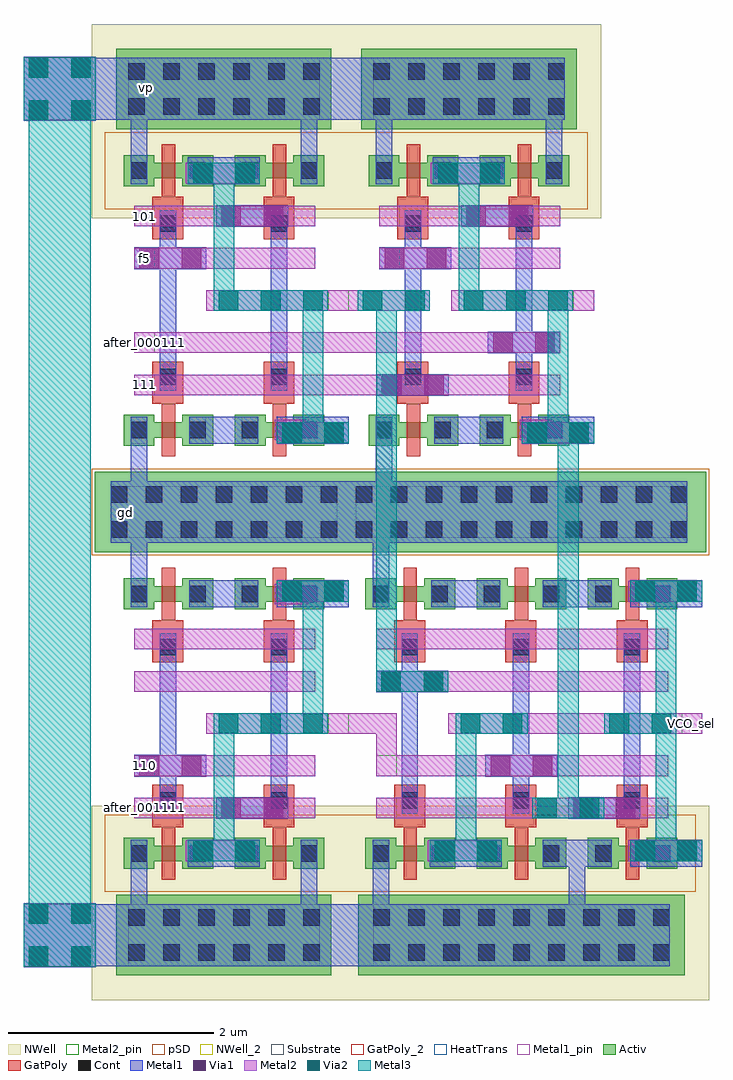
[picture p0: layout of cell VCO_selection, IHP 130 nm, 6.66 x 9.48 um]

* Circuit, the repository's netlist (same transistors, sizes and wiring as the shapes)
** sch_path: /foss/designs/CHIP-PLL/schematics/divider/schematics/test/VCO_selection.sch
.subckt VCO_selection gd VP after_000111 111 after_001111 110 101 f5 VCO_sel
*.PININFO gd:B VP:B after_000111:I 111:I after_001111:I 110:I 101:I f5:I VCO_sel:O
x11 VP gd after_000111 net1 111 NAND_2in
x12 VP gd after_001111 net2 110 NAND_2in
x13 VP gd 101 net3 f5 NAND_2in
x14 VP gd net1 VCO_sel net2 net3 NAND_3in
.ends

* expanding   symbol:  NAND_2in.sym # of pins=5
** sym_path: /foss/designs/CHIP-PLL/schematics/divider/schematics/NAND_2in.sym
** sch_path: /foss/designs/CHIP-PLL/schematics/divider/schematics/NAND_2in.sch
.subckt NAND_2in VP GND a y b
*.PININFO y:O GND:B a:I VP:B b:I
MM1 y a net1 GND sg13_lv_nmos w=0.15u l=0.13u ng=1
MM3 net1 b GND GND sg13_lv_nmos w=0.15u l=0.13u ng=1
MM2 y b VP VP sg13_lv_pmos w=0.15u l=0.13u ng=1
MM4 y a VP VP sg13_lv_pmos w=0.15u l=0.13u ng=1
.ends


* expanding   symbol:  NAND_3in.sym # of pins=6
** sym_path: /foss/designs/CHIP-PLL/schematics/divider/schematics/NAND_3in.sym
** sch_path: /foss/designs/CHIP-PLL/schematics/divider/schematics/NAND_3in.sch
.subckt NAND_3in VP GND a y b c
*.PININFO y:O GND:B a:I VP:B b:I c:I
MM1 y a net2 GND sg13_lv_nmos w=0.15u l=0.13u ng=1
MM3 net2 b net1 GND sg13_lv_nmos w=0.15u l=0.13u ng=1
MM4 net1 c GND GND sg13_lv_nmos w=0.15u l=0.13u ng=1
MM7 y c VP VP sg13_lv_pmos w=0.15u l=0.13u ng=1
MM2 y a VP VP sg13_lv_pmos w=0.15u l=0.13u ng=1
MM5 y b VP VP sg13_lv_pmos w=0.15u l=0.13u ng=1
.ends

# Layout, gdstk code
from math import pi, radians
import gdstk
lib = gdstk.Library(unit=1e-6, precision=1e-09)
def R(c, l, rs):  # rectangles x0, y0, x1, y1
    for r in rs: c.add(gdstk.rectangle(r[:2], r[2:], *l))
def A(c, l, x, y, w, h, nx, ny, dx, dy):  # array of equal rectangles
    R(c, l, [(x+i*dx, y+j*dy, x+i*dx+w, y+j*dy+h) for i in range(nx) for j in range(ny)])
Activ = (1, 0)
GatPoly = (5, 0)
GatPoly_2 = (5, 2)
Cont = (6, 0)
Metal1 = (8, 0)
Metal1_pin = (8, 2)
Metal2 = (10, 0)
Metal2_pin = (10, 2)
pSD = (14, 0)
Via1 = (19, 0)
Via2 = (29, 0)
Metal3 = (30, 0)
NWell = (31, 0)
NWell_2 = (31, 2)
Substrate = (40, 0)
HeatTrans = (51, 0)

via_4_2 = lib.new_cell('Via$4$2')
R(via_4_2, Metal2, [(-0.1,-0.35,0.1,0.35)])
R(via_4_2, Via2, [(-0.095,-0.3,0.095,-0.11), (-0.095,0.11,0.095,0.3)])
R(via_4_2, Metal3, [(-0.1,-0.35,0.1,0.35)])

via_2_2 = lib.new_cell('Via$2$2')
R(via_2_2, Metal1, [(-0.105,-0.35,0.105,0.35)])
R(via_2_2, Metal2, [(-0.1,-0.35,0.1,0.35)])
R(via_2_2, Via1, [(-0.095,-0.3,0.095,-0.11), (-0.095,0.11,0.095,0.3)])

ntap1_2 = lib.new_cell('ntap1$2')
R(ntap1_2, Activ, [(0,0,2.09,0.78)])
A(ntap1_2, Cont, 0.115, 0.14, 0.16, 0.16, 6, 2, 0.34, 0.34)
R(ntap1_2, Metal1, [(0.115,0.09,1.975,0.69)])
R(ntap1_2, Metal1_pin, [(0.115,0.09,1.975,0.69), (0.115,0.14,1.975,0.64)])
R(ntap1_2, NWell, [(-0.24,-0.24,2.33,1.02), (0,0,2.09,0.78)])
R(ntap1_2, NWell_2, [(0,0,2.09,0.78)])
ntap1_2.add(gdstk.Label('well', (1.045,0.01), layer=63, texttype=0))
ntap1_2.add(gdstk.Label('well', (1.045,0.01), layer=31, texttype=0))

ptap1_2 = lib.new_cell('ptap1$2')
R(ptap1_2, Activ, [(0,0,2.51,0.78)])
A(ptap1_2, Cont, 0.155, 0.14, 0.16, 0.16, 7, 2, 0.34, 0.34)
R(ptap1_2, Metal1, [(0.155,0.09,2.355,0.69), (0.155,0.14,2.355,0.64)])
R(ptap1_2, Metal1_pin, [(0.155,0.14,2.355,0.64)])
R(ptap1_2, pSD, [(-0.03,-0.03,2.54,0.81)])
R(ptap1_2, Substrate, [(0,0,2.51,0.78)])
ptap1_2.add(gdstk.Label('sub!', (1.255,0.01), layer=63, texttype=0))
ptap1_2.add(gdstk.Label('sub!', (1.255,0.01), layer=40, texttype=0))

nmos_2 = lib.new_cell('nmos$2')
R(nmos_2, Activ, [(0,0,0.3,0.3), (0.57,0,0.87,0.3), (0,0.075,0.87,0.225)])
R(nmos_2, GatPoly, [(0.37,-0.105,0.5,0.405)])
R(nmos_2, GatPoly_2, [(0.37,-0.105,0.5,0.405)])
R(nmos_2, Cont, [(0.07,0.07,0.23,0.23), (0.64,0.07,0.8,0.23)])
R(nmos_2, Metal1, [(0.07,0.02,0.23,0.28), (0.64,0.02,0.8,0.28)])
R(nmos_2, Metal1_pin, [(0.07,0.02,0.23,0.28), (0.64,0.02,0.8,0.28)])
R(nmos_2, HeatTrans, [(0.37,-0.105,0.5,0.405)])
nmos_2.add(gdstk.Label('nmos', (0.435,0.15), layer=63, texttype=0))
nmos_2.add(gdstk.Label('nmos', (0.435,0.15), layer=51, texttype=0))

pmos_2 = lib.new_cell('pmos$2')
R(pmos_2, Activ, [(0,0,0.3,0.3), (0.57,0,0.87,0.3), (0,0.075,0.87,0.225)])
R(pmos_2, GatPoly, [(0.37,-0.105,0.5,0.405), (0.37,-0.105,0.5,0.405)])
R(pmos_2, Cont, [(0.07,0.07,0.23,0.23), (0.64,0.07,0.8,0.23)])
R(pmos_2, Metal1, [(0.07,0.02,0.23,0.28), (0.07,0.02,0.23,0.28), (0.64,0.02,0.8,0.28), (0.64,0.02,0.8,0.28)])
R(pmos_2, pSD, [(-0.18,-0.225,1.05,0.525)])
R(pmos_2, NWell, [(-0.31,-0.31,1.18,0.61)])
R(pmos_2, HeatTrans, [(0.37,-0.105,0.5,0.405)])
pmos_2.add(gdstk.Label('pmos', (0.435,0.15), layer=63, texttype=0))
pmos_2.add(gdstk.Label('pmos', (0.435,0.15), layer=51, texttype=0))

via_16 = lib.new_cell('Via$16')
R(via_16, GatPoly, [(-0.15,-0.15,0.15,0.15)])
R(via_16, Cont, [(-0.08,-0.08,0.08,0.08)])
R(via_16, Metal1, [(-0.13,-0.08,0.13,0.08)])

via_7_1 = lib.new_cell('Via$7$1')
R(via_7_1, Metal2, [(-0.555,-0.1,0.555,0.1)])
A(via_7_1, Via2, -0.505, -0.095, 0.19, 0.19, 3, 1, 0.41, 0)
R(via_7_1, Metal3, [(-0.555,-0.1,0.555,0.1)])

via_6_2 = lib.new_cell('Via$6$2')
R(via_6_2, Metal1, [(-0.35,-0.105,0.35,0.105)])
R(via_6_2, Metal2, [(-0.35,-0.1,0.35,0.1)])
R(via_6_2, Via1, [(-0.3,-0.095,-0.11,0.095), (0.11,-0.095,0.3,0.095)])

nand_2in_dek = lib.new_cell('NAND_2in_dek')
R(nand_2in_dek, GatPoly, [(9.375,7.165,9.675,7.275), (10.455,7.165,10.755,7.275), (9.375,9.065,9.675,9.175), (10.455,9.065,10.755,9.175)])
R(nand_2in_dek, Metal1, [(9.735,6.78,10.405,7.04), (10.585,6.78,11.285,7.04), (9.72,9.3,10.42,9.56)])
R(nand_2in_dek, Metal1_pin, [(9.16,6.015,9.36,6.215), (9.325,10.12,9.525,10.32)])
R(nand_2in_dek, Metal2_pin, [(11.085,8.07,11.285,8.27), (9.2,8.48,9.4,8.68), (9.2,8.89,9.4,9.09)])
nand_2in_dek.add(gdstk.FlexPath([(9.245,9.56),(9.245,10.525)], 0.16, ends="flush", simple_path=True, layer=8, datatype=0))  # Metal1
nand_2in_dek.add(gdstk.FlexPath([(10.895,9.56),(10.895,10.525)], 0.16, ends="flush", simple_path=True, layer=8, datatype=0))  # Metal1
nand_2in_dek.add(gdstk.FlexPath([(9.245,6.78),(9.245,6.415)], 0.16, ends="flush", simple_path=True, layer=8, datatype=0))  # Metal1
nand_2in_dek.add(gdstk.FlexPath([(9.525,7.555),(9.525,8.785)], 0.16, ends="flush", simple_path=True, layer=8, datatype=0))  # Metal1
nand_2in_dek.add(gdstk.FlexPath([(10.605,7.555),(10.605,8.785)], 0.16, ends="flush", simple_path=True, layer=8, datatype=0))  # Metal1
nand_2in_dek.add(gdstk.FlexPath([(9.9,8.17),(11.285,8.17)], 0.2, ends="flush", simple_path=True, layer=10, datatype=0))  # Metal2
nand_2in_dek.add(gdstk.FlexPath([(10.895,6.91),(10.565,6.91)], 0.2, ends="flush", simple_path=True, layer=10, datatype=0))  # Metal2
nand_2in_dek.add(gdstk.FlexPath([(9.865,9.405),(9.7,9.405)], 0.2, ends="flush", simple_path=True, layer=10, datatype=0))  # Metal2
nand_2in_dek.add(gdstk.FlexPath([(10.43,8.58),(10.43,8.58)], 0.2, ends="flush", simple_path=True, layer=10, datatype=0))  # Metal2
nand_2in_dek.add(gdstk.FlexPath([(9.2,8.99),(10.955,8.99)], 0.2, ends="flush", simple_path=True, layer=10, datatype=0))  # Metal2
nand_2in_dek.add(gdstk.FlexPath([(9.2,8.58),(10.955,8.58)], 0.2, ends="flush", simple_path=True, layer=10, datatype=0))  # Metal2
nand_2in_dek.add(gdstk.FlexPath([(9.2,7.76),(10.955,7.76)], 0.2, ends="flush", simple_path=True, layer=10, datatype=0))  # Metal2
nand_2in_dek.add(gdstk.FlexPath([(9.2,7.35),(10.955,7.35)], 0.2, ends="flush", simple_path=True, layer=10, datatype=0))  # Metal2
nand_2in_dek.add(gdstk.FlexPath([(10.07,9.305),(10.07,8.07)], 0.2, ends="flush", simple_path=True, layer=30, datatype=0))  # Metal3
nand_2in_dek.add(gdstk.FlexPath([(10.935,6.885),(10.935,8.07)], 0.2, ends="flush", simple_path=True, layer=30, datatype=0))  # Metal3
nand_2in_dek.add(gdstk.Reference(via_4_2, (10.935,6.885), rotation=3*pi/2))
nand_2in_dek.add(gdstk.Reference(via_2_2, (10.935,6.885), rotation=3*pi/2))
nand_2in_dek.add(gdstk.Reference(ntap1_2, (9.025,9.835)))
nand_2in_dek.add(gdstk.Reference(ptap1_2, (8.815,5.725)))
nand_2in_dek.add(gdstk.Reference(nmos_2, (10.175,6.76)))
nand_2in_dek.add(gdstk.Reference(pmos_2, (10.175,9.28)))
nand_2in_dek.add(gdstk.Reference(nmos_2, (9.095,6.76)))
nand_2in_dek.add(gdstk.Reference(pmos_2, (9.095,9.28)))
nand_2in_dek.add(gdstk.Reference(via_16, (9.525,8.915), rotation=pi/2))
nand_2in_dek.add(gdstk.Reference(via_16, (10.605,8.915), rotation=pi/2))
nand_2in_dek.add(gdstk.Reference(via_16, (10.605,7.425), rotation=3*pi/2))
nand_2in_dek.add(gdstk.Reference(via_16, (9.525,7.425), rotation=3*pi/2))
nand_2in_dek.add(gdstk.Reference(via_2_2, (9.55,8.58), rotation=3*pi/2))
nand_2in_dek.add(gdstk.Reference(via_7_1, (10.525,8.17)))
nand_2in_dek.add(gdstk.Reference(via_2_2, (10.07,9.405), rotation=3*pi/2))
nand_2in_dek.add(gdstk.Reference(via_4_2, (10.07,9.405), rotation=3*pi/2))
nand_2in_dek.add(gdstk.Reference(via_6_2, (10.345,8.99)))
nand_2in_dek.add(gdstk.Label('y', (11.185,8.17), layer=10, texttype=25))
nand_2in_dek.add(gdstk.Label('b', (9.315,8.575), layer=10, texttype=25))
nand_2in_dek.add(gdstk.Label('a', (9.3,8.99), layer=10, texttype=25))
nand_2in_dek.add(gdstk.Label('VP', (9.295,10.22), layer=8, texttype=25))
nand_2in_dek.add(gdstk.Label('GND', (9.26,6.115), layer=8, texttype=25))

ntap1_3 = lib.new_cell('ntap1$3')
R(ntap1_3, Activ, [(0,0,3.17,0.78)])
A(ntap1_3, Cont, 0.145, 0.14, 0.16, 0.16, 9, 2, 0.34, 0.34)
R(ntap1_3, Metal1, [(0.145,0.09,3.025,0.69)])
R(ntap1_3, Metal1_pin, [(0.145,0.09,3.025,0.69), (0.145,0.14,3.025,0.64)])
R(ntap1_3, NWell, [(-0.24,-0.24,3.41,1.02), (0,0,3.17,0.78)])
R(ntap1_3, NWell_2, [(0,0,3.17,0.78)])
ntap1_3.add(gdstk.Label('well', (1.585,0.01), layer=63, texttype=0))
ntap1_3.add(gdstk.Label('well', (1.585,0.01), layer=31, texttype=0))

ptap1_3 = lib.new_cell('ptap1$3')
R(ptap1_3, Activ, [(0,0,3.59,0.78)])
A(ptap1_3, Cont, 0.185, 0.14, 0.16, 0.16, 10, 2, 0.34, 0.34)
R(ptap1_3, Metal1, [(0.185,0.09,3.405,0.69), (0.185,0.14,3.405,0.64)])
R(ptap1_3, Metal1_pin, [(0.185,0.14,3.405,0.64)])
R(ptap1_3, pSD, [(-0.03,-0.03,3.62,0.81)])
R(ptap1_3, Substrate, [(0,0,3.59,0.78)])
ptap1_3.add(gdstk.Label('sub!', (1.795,0.01), layer=63, texttype=0))
ptap1_3.add(gdstk.Label('sub!', (1.795,0.01), layer=40, texttype=0))

nmos_3 = lib.new_cell('nmos$3')
R(nmos_3, Activ, [(0,0,0.3,0.3), (0.57,0,0.87,0.3), (0,0.075,0.87,0.225)])
R(nmos_3, GatPoly, [(0.37,-0.105,0.5,0.405)])
R(nmos_3, GatPoly_2, [(0.37,-0.105,0.5,0.405)])
R(nmos_3, Cont, [(0.07,0.07,0.23,0.23), (0.64,0.07,0.8,0.23)])
R(nmos_3, Metal1, [(0.07,0.02,0.23,0.28), (0.64,0.02,0.8,0.28)])
R(nmos_3, Metal1_pin, [(0.07,0.02,0.23,0.28), (0.64,0.02,0.8,0.28)])
R(nmos_3, HeatTrans, [(0.37,-0.105,0.5,0.405)])
nmos_3.add(gdstk.Label('nmos', (0.435,0.15), layer=63, texttype=0))
nmos_3.add(gdstk.Label('nmos', (0.435,0.15), layer=51, texttype=0))

pmos_3 = lib.new_cell('pmos$3')
R(pmos_3, Activ, [(0,0,0.3,0.3), (0.57,0,0.87,0.3), (0,0.075,0.87,0.225)])
R(pmos_3, GatPoly, [(0.37,-0.105,0.5,0.405), (0.37,-0.105,0.5,0.405)])
R(pmos_3, Cont, [(0.07,0.07,0.23,0.23), (0.64,0.07,0.8,0.23)])
R(pmos_3, Metal1, [(0.07,0.02,0.23,0.28), (0.07,0.02,0.23,0.28), (0.64,0.02,0.8,0.28), (0.64,0.02,0.8,0.28)])
R(pmos_3, pSD, [(-0.18,-0.225,1.05,0.525)])
R(pmos_3, NWell, [(-0.31,-0.31,1.18,0.61)])
R(pmos_3, HeatTrans, [(0.37,-0.105,0.5,0.405)])
pmos_3.add(gdstk.Label('pmos', (0.435,0.15), layer=63, texttype=0))
pmos_3.add(gdstk.Label('pmos', (0.435,0.15), layer=51, texttype=0))

via_17 = lib.new_cell('Via$17')
R(via_17, GatPoly, [(-0.15,-0.15,0.15,0.15)])
R(via_17, Cont, [(-0.08,-0.08,0.08,0.08)])
R(via_17, Metal1, [(-0.13,-0.08,0.13,0.08)])

via_2_3 = lib.new_cell('Via$2$3')
R(via_2_3, Metal1, [(-0.105,-0.35,0.105,0.35)])
R(via_2_3, Metal2, [(-0.1,-0.35,0.1,0.35)])
R(via_2_3, Via1, [(-0.095,-0.3,0.095,-0.11), (-0.095,0.11,0.095,0.3)])

via_8_2 = lib.new_cell('Via$8$2')
R(via_8_2, Metal2, [(-0.35,-0.1,0.35,0.1)])
R(via_8_2, Via2, [(-0.3,-0.095,-0.11,0.095), (0.11,-0.095,0.3,0.095)])
R(via_8_2, Metal3, [(-0.35,-0.1,0.35,0.1)])

via_4_3 = lib.new_cell('Via$4$3')
R(via_4_3, Metal2, [(-0.1,-0.35,0.1,0.35)])
R(via_4_3, Via2, [(-0.095,-0.3,0.095,-0.11), (-0.095,0.11,0.095,0.3)])
R(via_4_3, Metal3, [(-0.1,-0.35,0.1,0.35)])

via_6_3 = lib.new_cell('Via$6$3')
R(via_6_3, Metal1, [(-0.35,-0.105,0.35,0.105)])
R(via_6_3, Metal2, [(-0.35,-0.1,0.35,0.1)])
R(via_6_3, Via1, [(-0.3,-0.095,-0.11,0.095), (0.11,-0.095,0.3,0.095)])

nand_3in_dek = lib.new_cell('NAND_3in_dek')
A(nand_3in_dek, GatPoly, 9.375, 7.165, 0.3, 0.11, 3, 2, 1.08, 1.9)
R(nand_3in_dek, Metal1, [(9.735,6.78,10.405,7.04), (10.815,6.78,11.485,7.04), (11.665,6.78,12.365,7.04), (9.72,9.3,10.42,9.56), (10.815,9.3,11.485,9.56), (11.665,9.3,12.365,9.56)])
R(nand_3in_dek, Metal1_pin, [(9.16,6.015,9.36,6.215), (9.325,10.12,9.525,10.32)])
R(nand_3in_dek, Metal2_pin, [(9.2,7.66,9.4,7.86), (12.165,8.07,12.365,8.27), (9.2,8.48,9.4,8.68), (9.2,8.89,9.4,9.09)])
nand_3in_dek.add(gdstk.FlexPath([(11.685,7.555),(11.685,8.785)], 0.16, ends="flush", simple_path=True, layer=8, datatype=0))  # Metal1
nand_3in_dek.add(gdstk.FlexPath([(11.15,9.56),(11.15,9.925)], 0.16, ends="flush", simple_path=True, layer=8, datatype=0))  # Metal1
nand_3in_dek.add(gdstk.FlexPath([(9.245,9.56),(9.245,10.525)], 0.16, ends="flush", simple_path=True, layer=8, datatype=0))  # Metal1
nand_3in_dek.add(gdstk.FlexPath([(9.245,6.78),(9.245,6.415)], 0.16, ends="flush", simple_path=True, layer=8, datatype=0))  # Metal1
nand_3in_dek.add(gdstk.FlexPath([(9.525,7.555),(9.525,8.785)], 0.16, ends="flush", simple_path=True, layer=8, datatype=0))  # Metal1
nand_3in_dek.add(gdstk.FlexPath([(10.605,7.555),(10.605,8.785)], 0.16, ends="flush", simple_path=True, layer=8, datatype=0))  # Metal1
nand_3in_dek.add(gdstk.FlexPath([(9.9,8.17),(12.365,8.17)], 0.2, ends="flush", simple_path=True, layer=10, datatype=0))  # Metal2
nand_3in_dek.add(gdstk.FlexPath([(11.81,9.405),(11.645,9.405)], 0.2, ends="flush", simple_path=True, layer=10, datatype=0))  # Metal2
nand_3in_dek.add(gdstk.FlexPath([(11.81,6.885),(11.645,6.885)], 0.2, ends="flush", simple_path=True, layer=10, datatype=0))  # Metal2
nand_3in_dek.add(gdstk.FlexPath([(9.2,7.76),(12.035,7.76)], 0.2, ends="flush", simple_path=True, layer=10, datatype=0))  # Metal2
nand_3in_dek.add(gdstk.FlexPath([(9.2,7.35),(12.035,7.35)], 0.2, ends="flush", simple_path=True, layer=10, datatype=0))  # Metal2
nand_3in_dek.add(gdstk.FlexPath([(9.2,8.99),(12.035,8.99)], 0.2, ends="flush", simple_path=True, layer=10, datatype=0))  # Metal2
nand_3in_dek.add(gdstk.FlexPath([(9.2,8.58),(12.035,8.58)], 0.2, ends="flush", simple_path=True, layer=10, datatype=0))  # Metal2
nand_3in_dek.add(gdstk.FlexPath([(9.865,9.405),(9.7,9.405)], 0.2, ends="flush", simple_path=True, layer=10, datatype=0))  # Metal2
nand_3in_dek.add(gdstk.FlexPath([(10.43,8.58),(10.43,8.58)], 0.2, ends="flush", simple_path=True, layer=10, datatype=0))  # Metal2
nand_3in_dek.add(gdstk.FlexPath([(12.015,6.885),(12.015,8.17)], 0.2, ends="flush", simple_path=True, layer=30, datatype=0))  # Metal3
nand_3in_dek.add(gdstk.FlexPath([(12.015,9.405),(12.015,8.17)], 0.2, ends="flush", simple_path=True, layer=30, datatype=0))  # Metal3
nand_3in_dek.add(gdstk.FlexPath([(10.07,9.305),(10.07,8.07)], 0.2, ends="flush", simple_path=True, layer=30, datatype=0))  # Metal3
nand_3in_dek.add(gdstk.Reference(ntap1_3, (9.025,9.835)))
nand_3in_dek.add(gdstk.Reference(ptap1_3, (8.815,5.725)))
nand_3in_dek.add(gdstk.Reference(nmos_3, (10.175,6.76)))
nand_3in_dek.add(gdstk.Reference(pmos_3, (10.175,9.28)))
nand_3in_dek.add(gdstk.Reference(nmos_3, (9.095,6.76)))
nand_3in_dek.add(gdstk.Reference(pmos_3, (9.095,9.28)))
nand_3in_dek.add(gdstk.Reference(via_17, (9.525,8.915), rotation=pi/2))
nand_3in_dek.add(gdstk.Reference(via_17, (10.605,8.915), rotation=pi/2))
nand_3in_dek.add(gdstk.Reference(via_17, (10.605,7.425), rotation=3*pi/2))
nand_3in_dek.add(gdstk.Reference(via_17, (9.525,7.425), rotation=3*pi/2))
nand_3in_dek.add(gdstk.Reference(via_2_3, (10.61,8.58), rotation=3*pi/2))
nand_3in_dek.add(gdstk.Reference(via_8_2, (10.32,8.17)))
nand_3in_dek.add(gdstk.Reference(via_2_3, (10.07,9.405), rotation=3*pi/2))
nand_3in_dek.add(gdstk.Reference(via_4_3, (10.07,9.405), rotation=3*pi/2))
nand_3in_dek.add(gdstk.Reference(via_6_3, (11.415,8.99)))
nand_3in_dek.add(gdstk.Reference(pmos_3, (11.255,9.28)))
nand_3in_dek.add(gdstk.Reference(nmos_3, (11.255,6.76)))
nand_3in_dek.add(gdstk.Reference(via_17, (11.685,8.915), rotation=pi/2))
nand_3in_dek.add(gdstk.Reference(via_17, (11.685,7.425), rotation=3*pi/2))
nand_3in_dek.add(gdstk.Reference(via_2_3, (12.015,9.405), rotation=3*pi/2))
nand_3in_dek.add(gdstk.Reference(via_4_3, (12.015,9.405), rotation=3*pi/2))
nand_3in_dek.add(gdstk.Reference(via_2_3, (12.015,6.885), rotation=3*pi/2))
nand_3in_dek.add(gdstk.Reference(via_4_3, (12.015,6.885), rotation=3*pi/2))
nand_3in_dek.add(gdstk.Reference(via_8_2, (11.765,8.17)))
nand_3in_dek.add(gdstk.Reference(via_2_3, (9.55,7.76), rotation=3*pi/2))
nand_3in_dek.add(gdstk.Label('c', (9.315,7.755), layer=10, texttype=25))
nand_3in_dek.add(gdstk.Label('y', (12.265,8.17), layer=10, texttype=25))
nand_3in_dek.add(gdstk.Label('b', (9.315,8.575), layer=10, texttype=25))
nand_3in_dek.add(gdstk.Label('a', (9.3,8.99), layer=10, texttype=25))
nand_3in_dek.add(gdstk.Label('VP', (9.295,10.22), layer=8, texttype=25))
nand_3in_dek.add(gdstk.Label('GND', (9.26,6.115), layer=8, texttype=25))

via = lib.new_cell('Via')
R(via, Metal2, [(-0.35,-0.1,0.35,0.1)])
R(via, Via2, [(-0.3,-0.095,-0.11,0.095), (0.11,-0.095,0.3,0.095)])
R(via, Metal3, [(-0.35,-0.1,0.35,0.1)])

via_12 = lib.new_cell('Via$12')
R(via_12, Metal2, [(-0.35,-0.1,0.35,0.1)])
R(via_12, Via2, [(-0.3,-0.095,-0.11,0.095), (0.11,-0.095,0.3,0.095)])
R(via_12, Metal3, [(-0.35,-0.1,0.35,0.1)])

via_14 = lib.new_cell('Via$14')
R(via_14, Metal1, [(-0.35,-0.105,0.35,0.105)])
R(via_14, Metal2, [(-0.35,-0.1,0.35,0.1)])
R(via_14, Via1, [(-0.3,-0.095,-0.11,0.095), (0.11,-0.095,0.3,0.095)])

via_15 = lib.new_cell('Via$15')
R(via_15, Metal2, [(-0.35,-0.305,0.35,0.305)])
R(via_15, Via2, [(-0.3,-0.3,-0.11,-0.11), (0.11,-0.3,0.3,-0.11), (-0.3,0.11,-0.11,0.3), (0.11,0.11,0.3,0.3)])
R(via_15, Metal3, [(-0.35,-0.305,0.35,0.305)])

via_19 = lib.new_cell('Via$19')
R(via_19, Metal1, [(-0.35,-0.31,0.35,0.31)])
R(via_19, Metal2, [(-0.35,-0.305,0.35,0.305)])
R(via_19, Via1, [(-0.3,-0.3,-0.11,-0.11), (0.11,-0.3,0.3,-0.11), (-0.3,0.11,-0.11,0.3), (0.11,0.11,0.3,0.3)])

vco_selection = lib.new_cell('VCO_selection')
R(vco_selection, Metal1, [(13.685,0.83,14.405,1.43), (13.84,4.94,14.175,5.54), (13.58,9.05,14.325,9.65)])
R(vco_selection, Metal1_pin, [(11.695,5.135,11.895,5.335), (11.9,9.26,12.1,9.46)])
R(vco_selection, Metal2_pin, [(11.885,2.265,12.085,2.465), (11.885,2.675,12.085,2.875), (17.2,3.085,17.4,3.285), (11.885,6.375,12.085,6.575), (11.885,6.785,12.085,6.985), (11.885,7.605,12.085,7.805), (11.885,8.015,12.085,8.215)])
R(vco_selection, pSD, [(13.87,1.55,14,2.3), (13.91,8.18,14.075,8.93)])
vco_selection.add(gdstk.FlexPath([(14.59,6.475),(14.59,6.475)], 0.16, ends="flush", simple_path=True, layer=8, datatype=0))  # Metal1
vco_selection.add(gdstk.FlexPath([(11.825,1.13),(11.16,1.13)], 0.6, ends="flush", simple_path=True, layer=8, datatype=0))  # Metal1
vco_selection.add(gdstk.FlexPath([(11.16,1.13),(11.16,1.13)], 0.6, ends="flush", simple_path=True, layer=8, datatype=0))  # Metal1
vco_selection.add(gdstk.FlexPath([(11.825,9.35),(11.16,9.35)], 0.6, ends="flush", simple_path=True, layer=8, datatype=0))  # Metal1
vco_selection.add(gdstk.FlexPath([(11.16,9.35),(11.16,9.35)], 0.6, ends="flush", simple_path=True, layer=8, datatype=0))  # Metal1
vco_selection.add(gdstk.FlexPath([(13.64,6.885),(14.265,6.885)], 0.2, ends="flush", simple_path=True, layer=10, datatype=0))  # Metal2
vco_selection.add(gdstk.FlexPath([(13.64,6.475),(14.265,6.475)], 0.2, ends="flush", simple_path=True, layer=10, datatype=0))  # Metal2
vco_selection.add(gdstk.FlexPath([(13.97,3.185),(14.335,3.185),(14.335,2.675)], 0.2, ends="flush", simple_path=True, layer=10, datatype=0))  # Metal2
vco_selection.add(gdstk.FlexPath([(14.61,3.595),(14.61,3.595)], 0.2, ends="flush", simple_path=True, layer=10, datatype=0))  # Metal2
vco_selection.add(gdstk.FlexPath([(14.47,7.295),(14.47,7.295)], 0.2, ends="flush", simple_path=True, layer=10, datatype=0))  # Metal2
vco_selection.add(gdstk.FlexPath([(13.97,7.295),(14.055,7.295)], 0.2, ends="flush", simple_path=True, layer=10, datatype=0))  # Metal2
vco_selection.add(gdstk.FlexPath([(11.16,1.13),(11.16,1.13)], 0.2, ends="flush", simple_path=True, layer=10, datatype=0))  # Metal2
vco_selection.add(gdstk.FlexPath([(11.16,9.35),(11.16,9.35)], 0.2, ends="flush", simple_path=True, layer=10, datatype=0))  # Metal2
vco_selection.add(gdstk.FlexPath([(16.1,6.01),(16.1,2.365)], 0.2, ends="flush", simple_path=True, layer=30, datatype=0))  # Metal3
vco_selection.add(gdstk.FlexPath([(14.335,3.595),(14.335,7.395)], 0.2, ends="flush", simple_path=True, layer=30, datatype=0))  # Metal3
vco_selection.add(gdstk.FlexPath([(11.16,1.13),(11.16,9.43)], 0.6, ends="flush", simple_path=True, layer=30, datatype=0))  # Metal3
vco_selection.add(gdstk.Reference(nand_2in_dek, (2.685,-0.875)))
vco_selection.add(gdstk.Reference(nand_2in_dek, (5.065,-0.875)))
vco_selection.add(gdstk.Reference(nand_2in_dek, (2.685,11.355), x_reflection=True))
vco_selection.add(gdstk.Reference(nand_3in_dek, (5.035,11.355), x_reflection=True))
vco_selection.add(gdstk.Reference(via, (16.1,2.365)))
vco_selection.add(gdstk.Reference(via_12, (14.585,3.595)))
vco_selection.add(gdstk.Reference(via_12, (14.405,7.295)))
vco_selection.add(gdstk.Reference(via_14, (14.59,6.475)))
vco_selection.add(gdstk.Reference(via_14, (15.67,6.885)))
vco_selection.add(gdstk.Reference(via_15, (11.16,1.13)))
vco_selection.add(gdstk.Reference(via_19, (11.16,1.13)))
vco_selection.add(gdstk.Reference(via_15, (11.16,9.35)))
vco_selection.add(gdstk.Reference(via_19, (11.16,9.35)))
vco_selection.add(gdstk.Label('after_000111', (11.985,6.885), layer=10, texttype=25))
vco_selection.add(gdstk.Label('111', (11.985,6.475), layer=10, texttype=25))
vco_selection.add(gdstk.Label('101', (11.985,8.115), layer=10, texttype=25))
vco_selection.add(gdstk.Label('f5', (11.985,7.705), layer=10, texttype=25))
vco_selection.add(gdstk.Label('after_001111', (11.985,2.365), layer=10, texttype=25))
vco_selection.add(gdstk.Label('110', (11.985,2.775), layer=10, texttype=25))
vco_selection.add(gdstk.Label('VCO_sel', (17.3,3.185), layer=10, texttype=25))
vco_selection.add(gdstk.Label('vp', (12,9.36), layer=8, texttype=25))
vco_selection.add(gdstk.Label('gd', (11.795,5.235), layer=8, texttype=25))

lib.write_gds('VCO_selection.gds')
